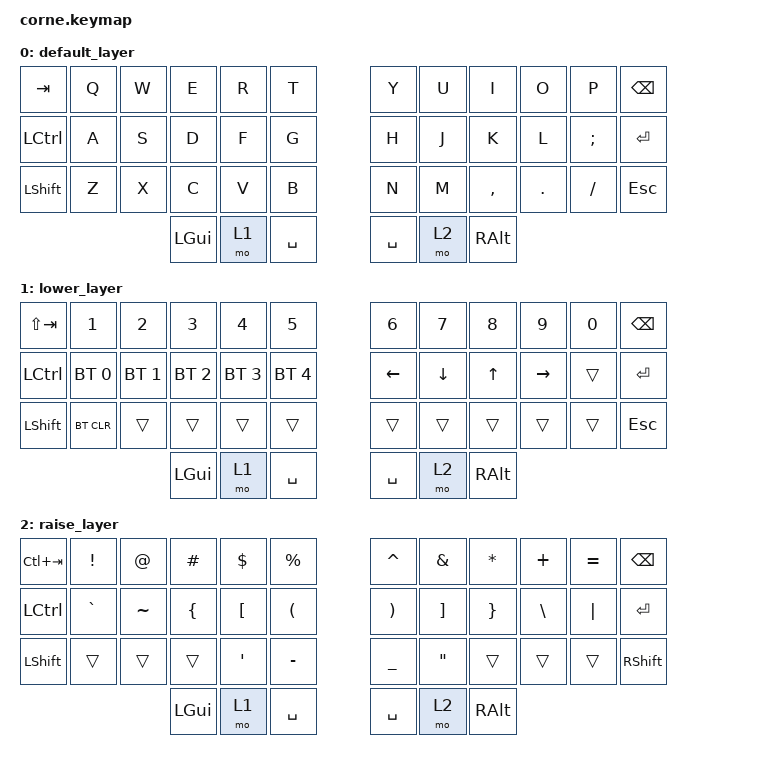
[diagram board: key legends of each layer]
/*
 * Copyright (c) 2020 The ZMK Contributors
 *
 * SPDX-License-Identifier: MIT
 */

#include <behaviors.dtsi>
#include <dt-bindings/zmk/bt.h>
#include <dt-bindings/zmk/keys.h>

/ {
    keymap {
        compatible = "zmk,keymap";

        default_layer {
            bindings = <
&kp TAB    &kp Q  &kp W  &kp E     &kp R  &kp T        &kp Y      &kp U  &kp I      &kp O    &kp P     &kp BSPC
&kp LCTRL  &kp A  &kp S  &kp D     &kp F  &kp G        &kp H      &kp J  &kp K      &kp L    &kp SEMI  &kp ENTER
&kp LSHFT  &kp Z  &kp X  &kp C     &kp V  &kp B        &kp N      &kp M  &kp COMMA  &kp DOT  &kp FSLH  &kp ESC
                         &kp LGUI  &mo 1  &kp SPACE    &kp SPACE  &mo 2  &kp RALT
            >;
        };

        lower_layer {
            bindings = <
&kp LS(TAB)  &kp N1        &kp N2        &kp N3        &kp N4        &kp N5          &kp N6          &kp N7          &kp N8        &kp N9           &kp N0  &kp BSPC
&kp LCTRL    &bt BT_SEL 0  &bt BT_SEL 1  &bt BT_SEL 2  &bt BT_SEL 3  &bt BT_SEL 4    &kp LEFT_ARROW  &kp DOWN_ARROW  &kp UP_ARROW  &kp RIGHT_ARROW  &trans  &kp ENTER
&kp LSHFT    &bt BT_CLR    &trans        &trans        &trans        &trans          &trans          &trans          &trans        &trans           &trans  &kp ESC
                                         &kp LGUI      &mo 1         &kp SPACE       &kp SPACE       &mo 2           &kp RALT
            >;
        };

        raise_layer {
            bindings = <
&kp LC(TAB)  &kp EXCL   &kp AT     &kp POUND       &kp DOLLAR        &kp PERCENT             &kp CARET              &kp AMPERSAND      &kp STAR         &kp PLUS       &kp EQUAL  &kp BSPC
&kp LCTRL    &kp GRAVE  &kp TILDE  &kp LEFT_BRACE  &kp LEFT_BRACKET  &kp LEFT_PARENTHESIS    &kp RIGHT_PARENTHESIS  &kp RIGHT_BRACKET  &kp RIGHT_BRACE  &kp BACKSLASH  &kp PIPE   &kp ENTER
&kp LSHFT    &trans     &trans     &trans          &kp SQT           &kp MINUS               &kp UNDER              &kp DOUBLE_QUOTES  &trans           &trans         &trans     &kp RIGHT_SHIFT
                                   &kp LGUI        &mo 1             &kp SPACE               &kp SPACE              &mo 2              &kp RALT
            >;
        };
    };
};
